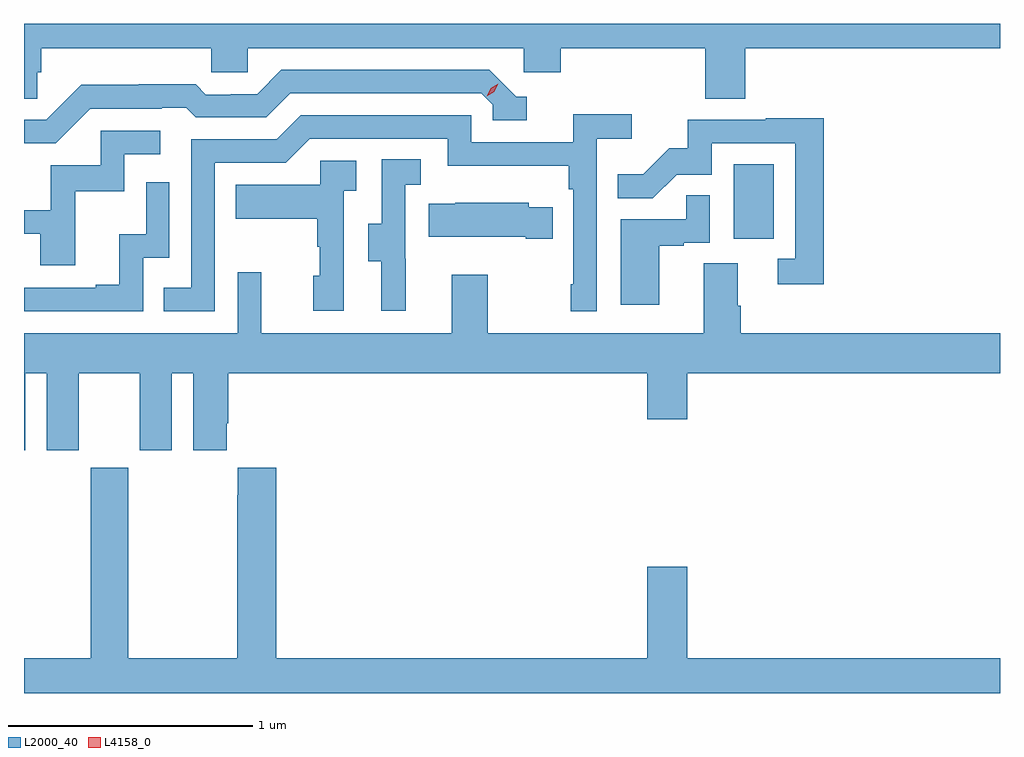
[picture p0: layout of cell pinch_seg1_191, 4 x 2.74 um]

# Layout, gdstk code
import gdstk
lib = gdstk.Library(unit=1e-6, precision=1e-09)
def R(c, l, rs):  # rectangles x0, y0, x1, y1
    for r in rs: c.add(gdstk.rectangle(r[:2], r[2:], *l))
def P(c, l, *ps):  # polygons
    for p in ps: c.add(gdstk.Polygon(p, *l))
L2000_40 = (2000, 40)
L4158_0 = (4158, 0)

pinch_seg1_191 = lib.new_cell('pinch_seg1_191')
R(pinch_seg1_191, L2000_40, [(956.57,582.918,956.734,583.225)])
P(pinch_seg1_191, L2000_40, [(953.717,583.602),(953.732,583.602),(953.732,583.7),(954.429,583.7),(954.429,583.602),(954.579,583.602),(954.579,583.7),(955.71,583.7),(955.71,583.602),(955.862,583.602),(955.862,583.7),(956.453,583.7),(956.453,583.492),(956.618,583.492),(956.618,583.7),(957.662,583.7),(957.662,583.8),(953.662,583.8),(953.662,583.492),(953.717,583.492)],
  [(953.934,583.452),(954.227,583.452),(954.227,583.455),(954.326,583.455),(954.365,583.416),(954.654,583.416),(954.753,583.515),(955.536,583.515),(955.584,583.467),(955.584,583.404),(955.723,583.404),(955.723,583.5),(955.68,583.5),(955.569,583.611),(954.716,583.611),(954.617,583.512),(954.51,583.512),(954.51,583.509),(954.407,583.509),(954.365,583.552),(954.132,583.552),(954.132,583.549),(953.896,583.549),(953.754,583.407),(953.662,583.407),(953.662,583.311),(953.793,583.311)],
  [(954.444,583.23),(954.735,583.23),(954.834,583.329),(955.398,583.329),(955.398,583.217),(955.894,583.217),(955.894,583.121),(955.914,583.121),(955.914,582.733),(955.902,582.733),(955.902,582.621),(956.01,582.621),(956.01,583.328),(956.152,583.328),(956.152,583.43),(955.913,583.43),(955.913,583.314),(955.494,583.314),(955.494,583.425),(954.797,583.425),(954.698,583.326),(954.348,583.326),(954.348,582.717),(954.235,582.717),(954.235,582.621),(954.444,582.621)],
  [(956.939,583.412),(956.701,583.412),(956.701,583.407),(956.383,583.407),(956.383,583.29),(956.306,583.29),(956.199,583.183),(956.095,583.183),(956.095,583.084),(956.239,583.084),(956.337,583.182),(956.481,583.182),(956.481,583.311),(956.823,583.311),(956.823,582.837),(956.751,582.837),(956.751,582.732),(956.939,582.732)],
  [(953.873,583.113),(954.072,583.113),(954.072,583.266),(954.22,583.266),(954.22,583.362),(953.976,583.362),(953.976,583.221),(953.771,583.221),(953.771,583.035),(953.662,583.035),(953.662,582.939),(953.729,582.939),(953.729,582.81),(953.873,582.81)],
  [(955.226,582.837),(955.224,582.837),(955.224,583.141),(955.288,583.141),(955.288,583.244),(955.128,583.244),(955.128,582.981),(955.073,582.981),(955.073,582.826),(955.127,582.826),(955.127,582.624),(955.226,582.624)],
  [(954.972,583.115),(955.024,583.115),(955.024,583.239),(954.876,583.239),(954.876,583.141),(954.529,583.141),(954.529,583.001),(954.864,583.001),(954.864,582.887),(954.874,582.887),(954.874,582.768),(954.848,582.768),(954.848,582.624),(954.972,582.624)],
  [(954.15,582.84),(954.258,582.84),(954.258,583.15),(954.162,583.15),(954.162,582.938),(954.053,582.938),(954.053,582.73),(953.957,582.73),(953.957,582.717),(953.662,582.717),(953.662,582.621),(954.15,582.621)],
  [(956.266,582.891),(956.366,582.891),(956.366,582.903),(956.472,582.903),(956.472,583.097),(956.377,583.097),(956.377,582.999),(956.108,582.999),(956.108,582.648),(956.266,582.648)],
  [(955.829,583.048),(955.731,583.048),(955.731,583.066),(955.429,583.066),(955.429,583.063),(955.321,583.063),(955.321,582.926),(955.718,582.926),(955.718,582.919),(955.829,582.919)],
  [(953.662,582.051),(953.668,582.051),(953.668,582.368),(953.756,582.368),(953.756,582.051),(953.887,582.051),(953.887,582.368),(954.137,582.368),(954.137,582.051),(954.268,582.051),(954.268,582.368),(954.356,582.368),(954.356,582.051),(954.493,582.051),(954.493,582.163),(954.5,582.163),(954.5,582.368),(956.216,582.368),(956.216,582.18),(956.38,582.18),(956.38,582.368),(957.662,582.368),(957.662,582.532),(956.6,582.532),(956.6,582.644),(956.587,582.644),(956.587,582.818),(956.447,582.818),(956.447,582.532),(955.563,582.532),(955.563,582.772),(955.415,582.772),(955.415,582.532),(954.635,582.532),(954.635,582.781),(954.537,582.781),(954.537,582.532),(953.662,582.532)],
  [(957.662,581.2),(956.38,581.2),(956.38,581.575),(956.216,581.575),(956.216,581.2),(954.695,581.2),(954.695,581.98),(954.539,581.98),(954.539,581.867),(954.535,581.867),(954.535,581.2),(954.09,581.2),(954.09,581.98),(953.935,581.98),(953.935,581.2),(953.662,581.2),(953.662,581.056),(957.662,581.056)])
P(pinch_seg1_191, L4158_0, [(955.558,583.502),(955.558,583.502),(955.575,583.535),(955.605,583.555),(955.606,583.555),(955.606,583.554),(955.589,583.522),(955.559,583.502)])

lib.write_gds('pinch_seg1_191.gds')
